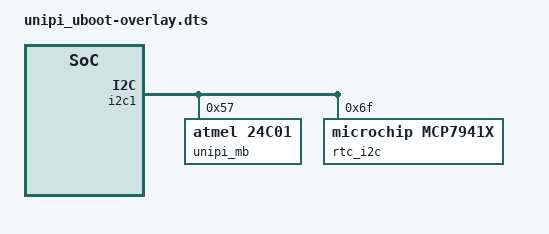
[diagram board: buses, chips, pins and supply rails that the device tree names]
/dts-v1/;
/plugin/;

/ {
	fragment@0 {
		target-path = "/";
		__overlay__ {

			unipi_id: unipi-id {
				compatible = "unipi,unipi-id";
				nvmem = <&unipi_mb>;
				nvmem-names = "plcid0";
				id-channel = <&i2c1>;
			};

			bootcount0 {
				compatible = "u-boot,bootcount-rtc";
				rtc = <&rtc_i2c>;
				offset = <0x20>;
			};
		};
	};

	fragment@1 {
		target = <&i2c1>;

		__overlay__ {
			#address-cells = < 0x01 >;
			#size-cells = < 0x00 >;
			status = "okay";

			unipi_mb:24c01@57 {
				compatible = "atmel,24c01";
				reg = <0x57>;
				status = "okay";
			};

			rtc_i2c:mcp7940x@6f {
				compatible = "microchip,mcp7941x";
				reg = <0x6f>;
				status = "okay";
			};
		};
	};
};
